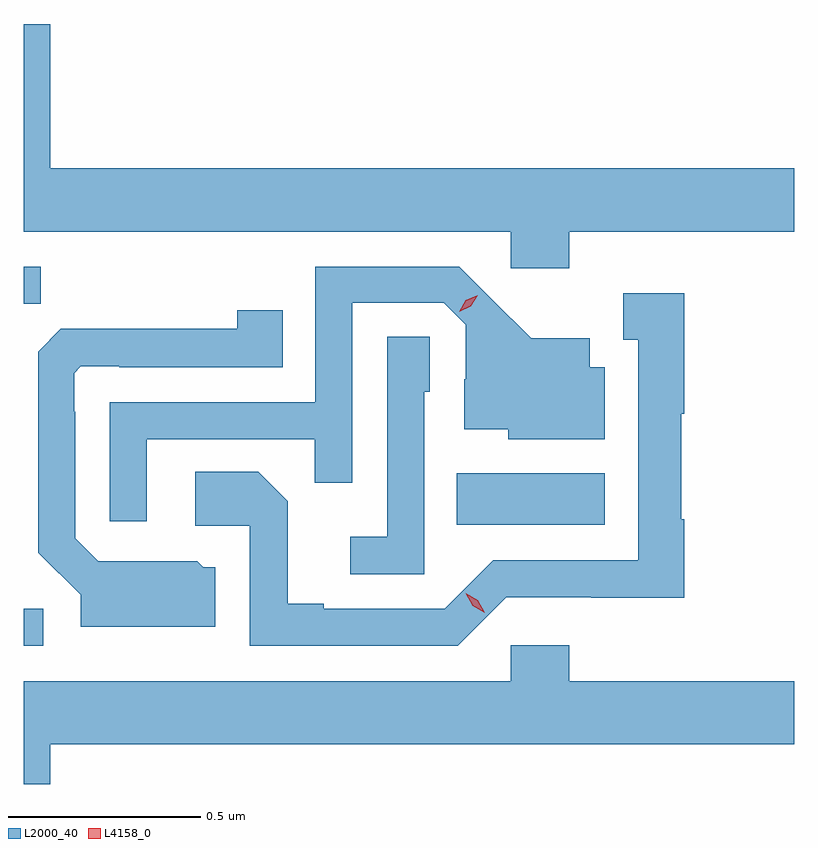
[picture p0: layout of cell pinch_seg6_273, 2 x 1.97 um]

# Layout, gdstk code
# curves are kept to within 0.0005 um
import gdstk
lib = gdstk.Library(unit=1e-6, precision=1e-09)
def R(c, l, rs):  # rectangles x0, y0, x1, y1
    for r in rs: c.add(gdstk.rectangle(r[:2], r[2:], *l))
def P(c, l, *ps):  # polygons
    for p in ps: c.add(gdstk.Polygon(p, *l))
L2000_40 = (2000, 40)
L4158_0 = (4158, 0)

pinch_seg6_273 = lib.new_cell('pinch_seg6_273')
R(pinch_seg6_273, L2000_40, [(860.408,995.544,860.458,995.64), (861.532,995.858,861.916,995.992), (860.408,996.433,860.451,996.528)])
P(pinch_seg6_273, L2000_40, [(861.824,996.62),(862.408,996.62),(862.408,996.784),(860.476,996.784),(860.476,997.159),(860.408,997.159),(860.408,996.62),(861.672,996.62),(861.672,996.525),(861.824,996.525)],
  [(860.727,996.081),(861.163,996.081),(861.163,995.968),(861.261,995.968),(861.261,996.435),(861.498,996.435),(861.555,996.378),(861.555,996.236),(861.551,996.236),(861.551,996.107),(861.666,996.107),(861.666,996.08),(861.916,996.08),(861.916,996.267),(861.877,996.267),(861.877,996.343),(861.725,996.343),(861.538,996.528),(861.165,996.528),(861.165,996.177),(860.631,996.177),(860.631,995.868),(860.727,995.868)],
  [(861.66,995.67),(861.882,995.67),(861.882,995.669),(862.123,995.669),(862.123,995.873),(862.115,995.873),(862.115,996.147),(862.123,996.147),(862.123,996.46),(861.965,996.46),(861.965,996.339),(862.004,996.339),(862.004,995.766),(861.627,995.766),(861.501,995.64),(861.187,995.64),(861.187,995.653),(861.093,995.653),(861.093,995.92),(861.017,995.996),(860.853,995.996),(860.853,995.856),(860.994,995.856),(860.994,995.544),(861.534,995.544)],
  [(860.905,995.748),(860.874,995.748),(860.858,995.764),(860.724,995.764),(860.724,995.763),(860.601,995.763),(860.541,995.823),(860.541,996.152),(860.538,996.152),(860.538,996.252),(860.556,996.27),(860.656,996.27),(860.656,996.267),(861.08,996.267),(861.08,996.415),(860.962,996.415),(860.962,996.368),(860.605,996.368),(860.605,996.367),(860.504,996.367),(860.445,996.308),(860.445,995.786),(860.555,995.676),(860.555,995.594),(860.905,995.594)],
  [(861.447,996.204),(861.462,996.204),(861.462,996.347),(861.351,996.347),(861.351,995.827),(861.255,995.827),(861.255,995.73),(861.447,995.73)],
  [(860.476,995.288),(862.408,995.288),(862.408,995.452),(861.824,995.452),(861.824,995.545),(861.672,995.545),(861.672,995.452),(860.408,995.452),(860.408,995.185),(860.476,995.185)])
P(pinch_seg6_273, L4158_0, [(861.605,995.63),(861.573,995.648),(861.555,995.681),(861.555,995.681),(861.556,995.681),(861.587,995.662),(861.605,995.63),(861.605,995.63)],
  [(861.539,996.411),(861.539,996.412),(861.556,996.441),(861.586,996.455),(861.587,996.455),(861.587,996.455),(861.569,996.426),(861.539,996.411)])

lib.write_gds('pinch_seg6_273.gds')
